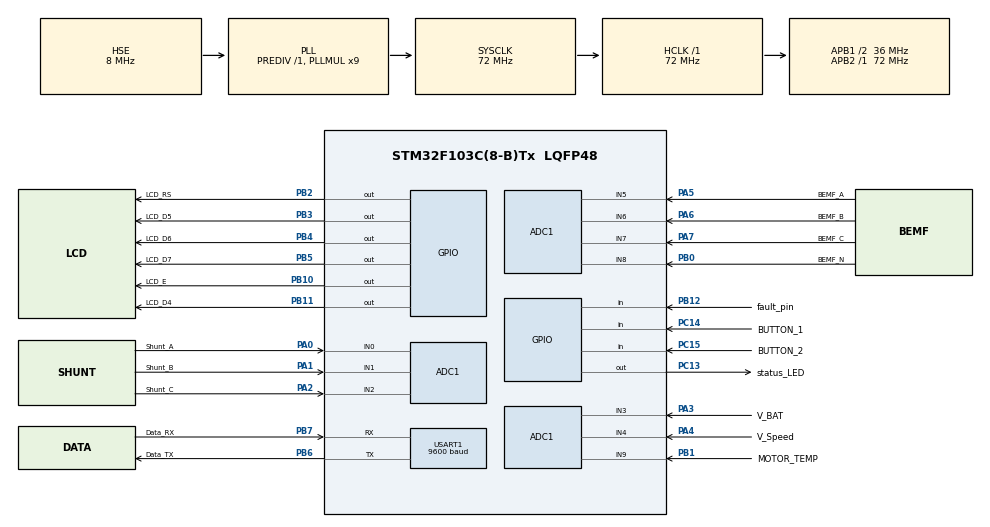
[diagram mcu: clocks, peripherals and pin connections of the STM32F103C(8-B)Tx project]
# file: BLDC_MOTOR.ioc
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ADC1.Channel-0\#ChannelRegularConversion=ADC_CHANNEL_0
ADC1.Channel-1\#ChannelRegularConversion=ADC_CHANNEL_1
ADC1.Channel-2\#ChannelRegularConversion=ADC_CHANNEL_2
ADC1.Channel-3\#ChannelRegularConversion=ADC_CHANNEL_3
ADC1.Channel-4\#ChannelRegularConversion=ADC_CHANNEL_4
ADC1.Channel-5\#ChannelRegularConversion=ADC_CHANNEL_5
ADC1.Channel-6\#ChannelRegularConversion=ADC_CHANNEL_6
ADC1.Channel-7\#ChannelRegularConversion=ADC_CHANNEL_7
ADC1.Channel-8\#ChannelRegularConversion=ADC_CHANNEL_8
ADC1.Channel-9\#ChannelRegularConversion=ADC_CHANNEL_9
ADC1.ContinuousConvMode=ENABLE
ADC1.EnableAnalogWatchDog=true
ADC1.NbrOfConversion=10
ADC1.NbrOfConversionFlag=1
ADC1.Rank-0\#ChannelRegularConversion=1
ADC1.Rank-1\#ChannelRegularConversion=2
ADC1.Rank-2\#ChannelRegularConversion=3
ADC1.Rank-3\#ChannelRegularConversion=4
ADC1.Rank-4\#ChannelRegularConversion=5
ADC1.Rank-5\#ChannelRegularConversion=6
ADC1.Rank-6\#ChannelRegularConversion=7
ADC1.Rank-7\#ChannelRegularConversion=8
ADC1.Rank-8\#ChannelRegularConversion=9
ADC1.Rank-9\#ChannelRegularConversion=10
ADC1.SamplingTime-0\#ChannelRegularConversion=ADC_SAMPLETIME_71CYCLES_5
ADC1.SamplingTime-1\#ChannelRegularConversion=ADC_SAMPLETIME_71CYCLES_5
ADC1.SamplingTime-2\#ChannelRegularConversion=ADC_SAMPLETIME_71CYCLES_5
ADC1.SamplingTime-3\#ChannelRegularConversion=ADC_SAMPLETIME_71CYCLES_5
ADC1.SamplingTime-4\#ChannelRegularConversion=ADC_SAMPLETIME_71CYCLES_5
ADC1.SamplingTime-5\#ChannelRegularConversion=ADC_SAMPLETIME_71CYCLES_5
ADC1.SamplingTime-6\#ChannelRegularConversion=ADC_SAMPLETIME_71CYCLES_5
ADC1.SamplingTime-7\#ChannelRegularConversion=ADC_SAMPLETIME_71CYCLES_5
ADC1.SamplingTime-8\#ChannelRegularConversion=ADC_SAMPLETIME_71CYCLES_5
ADC1.SamplingTime-9\#ChannelRegularConversion=ADC_SAMPLETIME_71CYCLES_5
ADC1.master=1
Mcu.Family=STM32F1
Mcu.Name=STM32F103C(8-B)Tx
Mcu.Package=LQFP48
NVIC.ADC1_2_IRQn=true\:0\:0\:false\:false\:true\:true\:true\:true
NVIC.PriorityGroup=NVIC_PRIORITYGROUP_4
NVIC.TIM1_UP_IRQn=true\:0\:0\:false\:false\:true\:true\:true\:true
PA0-WKUP.GPIO_Label=Shunt_A
PA0-WKUP.Signal=ADCx_IN0
PA1.GPIO_Label=Shunt_B
PA1.Signal=ADCx_IN1
PA10.GPIO_Label=PWM_C
PA10.GPIO_Speed=GPIO_SPEED_FREQ_HIGH
PA10.Signal=S_TIM1_CH3
PA13.GPIO_Label=SWDIO_STLINK
PA13.Mode=Serial_Wire
PA13.Signal=SYS_JTMS-SWDIO
PA14.GPIO_Label=SWCLK_STLINK
PA14.Mode=Serial_Wire
PA14.Signal=SYS_JTCK-SWCLK
PA2.GPIO_Label=Shunt_C
PA2.Signal=ADCx_IN2
PA3.GPIO_Label=V_BAT
PA3.Signal=ADCx_IN3
PA4.GPIO_Label=V_Speed
PA4.Signal=ADCx_IN4
PA5.GPIO_Label=BEMF_A
PA5.Signal=ADCx_IN5
PA6.GPIO_Label=BEMF_B
PA6.Signal=ADCx_IN6
PA7.GPIO_Label=BEMF_C
PA7.Signal=ADCx_IN7
PA8.GPIO_Label=PWM_A
PA8.GPIO_Speed=GPIO_SPEED_FREQ_HIGH
PA8.Signal=S_TIM1_CH1
PA9.GPIO_Label=PWM_B
PA9.GPIO_Speed=GPIO_SPEED_FREQ_HIGH
PA9.Signal=S_TIM1_CH2
PB0.GPIO_Label=BEMF_N
PB0.Signal=ADCx_IN8
PB1.GPIO_Label=MOTOR_TEMP
PB1.Signal=ADCx_IN9
PB10.GPIO_Label=LCD_E
PB10.GPIO_Speed=GPIO_SPEED_FREQ_HIGH
PB10.PinState=GPIO_PIN_RESET
PB10.Signal=GPIO_Output
PB11.GPIO_Label=LCD_D4
PB11.GPIO_Speed=GPIO_SPEED_FREQ_HIGH
PB11.PinState=GPIO_PIN_RESET
PB11.Signal=GPIO_Output
PB12.GPIO_Label=fault_pin
PB12.GPIO_PuPd=GPIO_PULLUP
PB12.Signal=GPIO_Input
PB13.GPIO_Label=PWM_AN
PB13.GPIO_Speed=GPIO_SPEED_FREQ_HIGH
PB13.Signal=TIM1_CH1N
PB14.GPIO_Label=PWM_BN
PB14.GPIO_Speed=GPIO_SPEED_FREQ_HIGH
PB14.Signal=TIM1_CH2N
PB15.GPIO_Label=PWM_CN
PB15.GPIO_Speed=GPIO_SPEED_FREQ_HIGH
PB15.Signal=TIM1_CH3N
PB2.GPIO_Label=LCD_RS
PB2.GPIO_Speed=GPIO_SPEED_FREQ_HIGH
PB2.PinState=GPIO_PIN_RESET
PB2.Signal=GPIO_Output
PB3.GPIO_Label=LCD_D5
PB3.GPIO_Speed=GPIO_SPEED_FREQ_HIGH
PB3.PinState=GPIO_PIN_RESET
PB3.Signal=GPIO_Output
PB4.GPIO_Label=LCD_D6
PB4.GPIO_Speed=GPIO_SPEED_FREQ_HIGH
PB4.PinState=GPIO_PIN_RESET
PB4.Signal=GPIO_Output
PB5.GPIO_Label=LCD_D7
PB5.GPIO_Speed=GPIO_SPEED_FREQ_HIGH
PB5.PinState=GPIO_PIN_RESET
PB5.Signal=GPIO_Output
PB6.GPIO_Label=Data_TX
PB6.Mode=Asynchronous
PB6.Signal=USART1_TX
PB7.GPIO_Label=Data_RX
PB7.GPIO_PuPd=GPIO_NOPULL
PB7.Mode=Asynchronous
PB7.Signal=USART1_RX
PC13-TAMPER-RTC.GPIO_Label=status_LED
PC13-TAMPER-RTC.GPIO_Speed=GPIO_SPEED_FREQ_HIGH
PC13-TAMPER-RTC.PinState=GPIO_PIN_RESET
PC13-TAMPER-RTC.Signal=GPIO_Output
PC14-OSC32_IN.GPIO_Label=BUTTON_1
PC14-OSC32_IN.GPIO_PuPd=GPIO_PULLUP
PC14-OSC32_IN.Signal=GPIO_Input
PC15-OSC32_OUT.GPIO_Label=BUTTON_2
PC15-OSC32_OUT.GPIO_PuPd=GPIO_PULLUP
PC15-OSC32_OUT.Signal=GPIO_Input
PD0-OSC_IN.GPIO_Label=XTAL_in
PD0-OSC_IN.Mode=HSE-External-Oscillator
PD0-OSC_IN.Signal=RCC_OSC_IN
PD1-OSC_OUT.GPIO_Label=XTAL_out
PD1-OSC_OUT.Mode=HSE-External-Oscillator
PD1-OSC_OUT.Signal=RCC_OSC_OUT
ProjectManager.HeapSize=0x200
ProjectManager.StackSize=0x400
ProjectManager.TargetToolchain=STM32CubeIDE
RCC.ADCPresc=RCC_ADCPCLK2_DIV6
RCC.AHBFreq_Value=72000000
RCC.APB1CLKDivider=RCC_HCLK_DIV2
RCC.APB1Freq_Value=36000000
RCC.APB1TimFreq_Value=72000000
RCC.APB2Freq_Value=72000000
RCC.APB2TimFreq_Value=72000000
RCC.HCLKFreq_Value=72000000
RCC.PLLMUL=RCC_PLL_MUL9
RCC.PLLSourceVirtual=RCC_PLLSOURCE_HSE
RCC.SYSCLKFreq_VALUE=72000000
RCC.SYSCLKSource=RCC_SYSCLKSOURCE_PLLCLK
RCC.USBFreq_Value=72000000
SH.ADCx_IN0.0=ADC1_IN0,IN0
SH.ADCx_IN1.0=ADC1_IN1,IN1
SH.ADCx_IN2.0=ADC1_IN2,IN2
SH.ADCx_IN3.0=ADC1_IN3,IN3
SH.ADCx_IN4.0=ADC1_IN4,IN4
SH.ADCx_IN5.0=ADC1_IN5,IN5
SH.ADCx_IN6.0=ADC1_IN6,IN6
SH.ADCx_IN7.0=ADC1_IN7,IN7
SH.ADCx_IN8.0=ADC1_IN8,IN8
SH.ADCx_IN9.0=ADC1_IN9,IN9
SH.S_TIM1_CH1.0=TIM1_CH1
SH.S_TIM1_CH2.0=TIM1_CH2
SH.S_TIM1_CH3.0=TIM1_CH3
TIM1.AutoReloadPreload=TIM_AUTORELOAD_PRELOAD_ENABLE
TIM1.CounterMode=TIM_COUNTERMODE_CENTERALIGNED3
TIM1.Period=3599
USART1.BaudRate=9600
USART1.VirtualMode=VM_ASYNC
VP_TIM1_VS_ClockSourceINT.Mode=Internal
board=custom

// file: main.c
/* USER CODE BEGIN Header */
/**
  ******************************************************************************
  * @file           : main.c
  * @brief          : Main program body
  ******************************************************************************
  * @attention
  *
  * Copyright (c) 2025 STMicroelectronics.
  * All rights reserved.
  *
  * This software is licensed under terms that can be found in the LICENSE file
  * in the root directory of this software component.
  * If no LICENSE file comes with this software, it is provided AS-IS.
  *
  ******************************************************************************
  */
/* USER CODE END Header */
#include "main.h"
#include "adc.h"
#include "tim.h"
#include "usart.h"
#include "gpio.h"

/* USER CODE BEGIN Includes */
#include "adc_handler.h"
#include "motor.h"
#include "uart_comm.h"
#include <string.h>
#include <stdio.h>
#include <math.h>
/* USER CODE END Includes */

/* USER CODE BEGIN PV */
Motor_Controller motor;  // Global motor controller instance
uint8_t system_ready = 0;
/* USER CODE END PV */

void SystemClock_Config(void);

int main(void)
{

  /* MCU Configuration--------------------------------------------------------*/

  /* Reset of all peripherals, Initializes the Flash interface and the Systick. */
  HAL_Init();

  /* Configure the system clock */
  SystemClock_Config();

  /* Initialize all configured peripherals */
  MX_GPIO_Init();
  MX_ADC1_Init();
  MX_TIM1_Init();
  MX_USART1_UART_Init();
  /* USER CODE BEGIN 2 */
  // Initialize modules in proper sequence
  ADC_Handler_Init();
  UART_Init(&huart1);
  Motor_Init(&motor);
  Motor_Config_Init(&motor);

  // Calibrate current sensors (motor must be stopped)
  Current_Sensor_Calibrate(&motor, &hadc1);

  // System ready - start PWM
  HAL_TIM_PWM_Start(&htim1, TIM_CHANNEL_1);
  HAL_TIM_PWM_Start(&htim1, TIM_CHANNEL_2);
  HAL_TIM_PWM_Start(&htim1, TIM_CHANNEL_3);

  // Initial debug output
  const char *init_msg = "System Initialized\r\n";
  HAL_UART_Transmit(&huart1, (uint8_t*)init_msg, strlen(init_msg), 100);

  system_ready = 1;
  /* USER CODE END 2 */

  /* Infinite loop */
  /* USER CODE BEGIN WHILE */
  uint32_t last_control_tick = HAL_GetTick();
  uint32_t last_status_tick = last_control_tick;
  uint32_t last_debug_tick = last_control_tick;

  while (1)
  {
    uint32_t current_tick = HAL_GetTick();
    float Vdc = Get_DC_Voltage(); // Read DC voltage once per loop

    // 1kHz motor control loop
    if(current_tick - last_control_tick >= 1) {
      last_control_tick = current_tick;

      if(system_ready && motor.state != MOTOR_FAULT) {
        float dt = 0.001f; // Fixed 1ms time step

        // Read sensors with error checking
        float Ia = Get_Phase_Current(0);
        float Ib = Get_Phase_Current(1);
        float Ic = Get_Phase_Current(2);

        // Validate sensor readings
        if(isnan(Ia) || isnan(Ib) || isnan(Ic) || isnan(Vdc) ||
           Vdc < MIN_VOLTAGE_THRESHOLD || Vdc > motor.max_voltage) {
          motor.state = MOTOR_FAULT;
          Safety_Handler();
          continue;
        }

        // Run motor control algorithm
        float pwm1, pwm2, pwm3;
        Motor_Update(&motor, Ia, Ib, Ic, Vdc, dt, &pwm1, &pwm2, &pwm3);

        // Apply PWM with limits
        uint32_t pwm_max = htim1.Instance->ARR;
        pwm1 = fmaxf(0.0f, fminf(pwm1, 0.95f)); // Limit to 95% duty cycle
        pwm2 = fmaxf(0.0f, fminf(pwm2, 0.95f));
        pwm3 = fmaxf(0.0f, fminf(pwm3, 0.95f));

        __HAL_TIM_SET_COMPARE(&htim1, TIM_CHANNEL_1, (uint32_t)(pwm1 * pwm_max));
        __HAL_TIM_SET_COMPARE(&htim1, TIM_CHANNEL_2, (uint32_t)(pwm2 * pwm_max));
        __HAL_TIM_SET_COMPARE(&htim1, TIM_CHANNEL_3, (uint32_t)(pwm3 * pwm_max));
      }
    }

    // 10Hz status update
    if(current_tick - last_status_tick >= 100) {
      last_status_tick = current_tick;
      System_Status_Update();
    }

    // 1Hz debug output
    if(current_tick - last_debug_tick >= 1000) {
      last_debug_tick = current_tick;
      Debug_Output(Vdc);
    }

    // Handle incoming commands
    UART_Process_Commands(&motor);

    // Minimal delay to prevent CPU overload
    HAL_Delay(1);
  }
    /* USER CODE END WHILE */

  }
}

void SystemClock_Config(void)
{
  RCC_OscInitTypeDef RCC_OscInitStruct = {0};
  RCC_ClkInitTypeDef RCC_ClkInitStruct = {0};
  RCC_PeriphCLKInitTypeDef PeriphClkInit = {0};

  /** Initializes the RCC Oscillators according to the specified parameters
  * in the RCC_OscInitTypeDef structure.
  */
  RCC_OscInitStruct.OscillatorType = RCC_OSCILLATORTYPE_HSE;
  RCC_OscInitStruct.HSEState = RCC_HSE_ON;
  RCC_OscInitStruct.HSEPredivValue = RCC_HSE_PREDIV_DIV1;
  RCC_OscInitStruct.HSIState = RCC_HSI_ON;
  RCC_OscInitStruct.PLL.PLLState = RCC_PLL_ON;
  RCC_OscInitStruct.PLL.PLLSource = RCC_PLLSOURCE_HSE;
  RCC_OscInitStruct.PLL.PLLMUL = RCC_PLL_MUL9;
  if (HAL_RCC_OscConfig(&RCC_OscInitStruct) != HAL_OK)
  {
    Error_Handler();
  }

  /** Initializes the CPU, AHB and APB buses clocks
  */
  RCC_ClkInitStruct.ClockType = RCC_CLOCKTYPE_HCLK|RCC_CLOCKTYPE_SYSCLK
                              |RCC_CLOCKTYPE_PCLK1|RCC_CLOCKTYPE_PCLK2;
  RCC_ClkInitStruct.SYSCLKSource = RCC_SYSCLKSOURCE_PLLCLK;
  RCC_ClkInitStruct.AHBCLKDivider = RCC_SYSCLK_DIV1;
  RCC_ClkInitStruct.APB1CLKDivider = RCC_HCLK_DIV2;
  RCC_ClkInitStruct.APB2CLKDivider = RCC_HCLK_DIV1;

  if (HAL_RCC_ClockConfig(&RCC_ClkInitStruct, FLASH_LATENCY_2) != HAL_OK)
  {
    Error_Handler();
  }
  PeriphClkInit.PeriphClockSelection = RCC_PERIPHCLK_ADC;
  PeriphClkInit.AdcClockSelection = RCC_ADCPCLK2_DIV6;
  if (HAL_RCCEx_PeriphCLKConfig(&PeriphClkInit) != HAL_OK)
  {
    Error_Handler();
  }
}

/* USER CODE BEGIN 4 */
static void System_Status_Update(void)
{
  // Toggle status LED to indicate alive
  HAL_GPIO_TogglePin(status_LED_GPIO_Port, status_LED_Pin);

  // Fast blink if fault condition
  if(motor.state == MOTOR_FAULT) {
    HAL_GPIO_TogglePin(status_LED_GPIO_Port, status_LED_Pin);
  }
}

static void Safety_Handler(void)
{
  // Immediately disable all PWM outputs
  __HAL_TIM_SET_COMPARE(&htim1, TIM_CHANNEL_1, 0);
  __HAL_TIM_SET_COMPARE(&htim1, TIM_CHANNEL_2, 0);
  __HAL_TIM_SET_COMPARE(&htim1, TIM_CHANNEL_3, 0);

  // Log fault via UART
  char fault_msg[150];
  snprintf(fault_msg, sizeof(fault_msg),
          "FAULT! System shutdown\r\n"
          "State: %d\r\n"
          "Voltage: %.1fV (Min: %.1fV)\r\n"
          "Current Offsets: %.1f, %.1f, %.1f\r\n",
          motor.state,
          Get_DC_Voltage(),
          MIN_VOLTAGE_THRESHOLD,
          motor.current_offsets[0],
          motor.current_offsets[1],
          motor.current_offsets[2]);
  HAL_UART_Transmit(&huart1, (uint8_t*)fault_msg, strlen(fault_msg), 100);
}

static void Debug_Output(float Vdc)
{
  char dbg_msg[200];
  snprintf(dbg_msg, sizeof(dbg_msg),
          "System Status:\r\n"
          "State: %d | Target: %.1f rad/s | Actual: %.1f rad/s\r\n"
          "Voltage: %.1fV | Currents: %.2f/%.2f/%.2fA\r\n"
          "PWM Duty: %.1f%%, %.1f%%, %.1f%%\r\n"
          "I_d: %.2fA | I_q: %.2fA\r\n"
          "--------------------------------\r\n",
          motor.state,
          motor.target_speed,
          motor.actual_speed,
          Vdc,
          Get_Phase_Current(0),
          Get_Phase_Current(1),
          Get_Phase_Current(2),
          __HAL_TIM_GET_COMPARE(&htim1, TIM_CHANNEL_1) * 100.0f / htim1.Instance->ARR,
          __HAL_TIM_GET_COMPARE(&htim1, TIM_CHANNEL_2) * 100.0f / htim1.Instance->ARR,
          __HAL_TIM_GET_COMPARE(&htim1, TIM_CHANNEL_3) * 100.0f / htim1.Instance->ARR,
          motor.I_d,
          motor.I_q);
  HAL_UART_Transmit(&huart1, (uint8_t*)dbg_msg, strlen(dbg_msg), 100);
}
/* USER CODE END 4 */

void Error_Handler(void)
{
  /* USER CODE BEGIN Error_Handler_Debug */
  __disable_irq();
  while (1)
  {
    // Rapid LED blink for critical errors
    HAL_GPIO_TogglePin(status_LED_GPIO_Port, status_LED_Pin);
    HAL_Delay(100);
  }
  /* USER CODE END Error_Handler_Debug */
}

#ifdef  USE_FULL_ASSERT
/**
  * @brief  Reports the name of the source file and the source line number
  *         where the assert_param error has occurred.
  * @param  file: pointer to the source file name
  * @param  line: assert_param error line source number
  * @retval None
  */
void assert_failed(uint8_t *file, uint32_t line)
{
  /* USER CODE BEGIN 6 */
  char assert_msg[100];
  snprintf(assert_msg, sizeof(assert_msg), "Assert failed: %s line %lu\r\n", file, line);
  HAL_UART_Transmit(&huart1, (uint8_t*)assert_msg, strlen(assert_msg), 100);
  /* USER CODE END 6 */
}
#endif /* USE_FULL_ASSERT */
